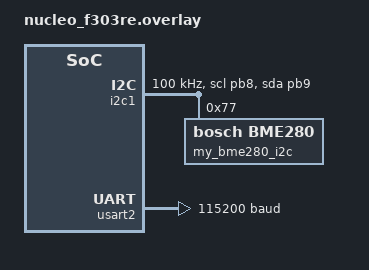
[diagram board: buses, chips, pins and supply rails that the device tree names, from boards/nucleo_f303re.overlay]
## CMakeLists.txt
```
# SPDX-License-Identifier: Apache-2.0

cmake_minimum_required(VERSION 3.20.0)
find_package(Zephyr REQUIRED HINTS $ENV{ZEPHYR_BASE})
project(seclog)

target_sources(app PRIVATE src/main.c)
```

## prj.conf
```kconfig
# General
CONFIG_LOG=y
CONFIG_PRINTK=y

# Enable the I2C, PINCTRL and the sensor drivers
CONFIG_I2C=y  
CONFIG_PINCTRL=y 
CONFIG_SENSOR=y
CONFIG_BME280=y

# Enable the STM32 console and USART dependencies
CONFIG_SERIAL=y
CONFIG_UART_CONSOLE=y
CONFIG_LOG=y
CONFIG_PRINTK=y

# Flash storage and persistence with NVS
CONFIG_FLASH_MAP=y
CONFIG_FLASH=y
CONFIG_FLASH_PAGE_LAYOUT=y
CONFIG_NVS=y

# Enable RNG drivers
CONFIG_MAIN_STACK_SIZE=4096
CONFIG_ENTROPY_GENERATOR=y
CONFIG_TEST_RANDOM_GENERATOR=y
CONFIG_ENTROPY_STM32_RNG=y


CONFIG_MBEDTLS=y
CONFIG_MBEDTLS_BUILTIN=y
CONFIG_MBEDTLS_MD=y
CONFIG_MBEDTLS_SHA256=y
```

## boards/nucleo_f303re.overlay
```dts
/ {
    /* The chosen node is used to specify the flash*/
    chosen {
		zephyr,flash = &flash0;
	};

    aliases {
        my-temp = &my_bme280_i2c;   // Alias for BME280 temperature sensor
    };
};

// The partitions are split as 6KB for both NVS which stores the sequence number and the storage which stroes the telemetry log
&flash0 {
    partitions {
        compatible = "fixed-partitions";
        #address-cells = <1>;
        #size-cells = <1>;

        nvs_partition: partition@7d000 {
            label = "nvs";
            reg = <0x7d000 0x1800>;
            status = "okay";
        };

        storage_partition: partition@7e800 {
            label = "storage";
            reg = <0x7e800 0x1800>;
            status = "okay";
        };
    };
};


// The BME280 sensor is defined as a child of the I2C1 bus with its compatible and I2C address
&i2c1 {
    status = "okay";
    pinctrl-0 = <&i2c1_scl_pb8 &i2c1_sda_pb9>;
    pinctrl-names = "default";
    clock-frequency = <I2C_BITRATE_STANDARD>;

    /* The sensor is a child of the bus */
    my_bme280_i2c: bme280@77 {
        compatible = "bosch,bme280";
        reg = <0x77>;
        status = "okay";
    };
};

// USART2 is enabled for serial communication with the host computer for debugging and telemetry output
&usart2 {
    status = "okay";
    current-speed = <115200>;
};
```

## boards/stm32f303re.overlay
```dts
/ {
    /* The chosen node is used to specify the flash and entropy devices for the system  
       which are therefore defined partitions in flash0 and the Random Number Generator RNG*/
    chosen {
		zephyr,flash = &flash0;
        zephyr,entropy = &rng;
	};

    aliases {
        my-temp = &my_bme280_i2c;   // Alias for BME280 temperature sensor
    };
};

// The partitions are split as 6KB for both NVS which stores the sequence number and the storage which stroes the telemetry log
&flash0 {
    partitions {
        compatible = "fixed-partitions";
        #address-cells = <1>;
        #size-cells = <1>;

        nvs_partition: partition@7d000 {
            label = "nvs";
            reg = <0x7d000 0x1800>;
        };

        storage_partition: partition@7e800 {
            label = "storage";
            reg = <0x7e800 0x1800>;
        };
    };
};

// The RNG is enabled to generate random numbers for the sequence number of the telemetry log
&rng {
    status = "okay";
};

// The BME280 sensor is defined as a child of the I2C1 bus with its compatible and I2C address
&i2c1 {
    status = "okay";
    pinctrl-0 = <&i2c1_scl_pb8 &i2c1_sda_pb9>;
    pinctrl-names = "default";
    clock-frequency = <I2C_BITRATE_STANDARD>;

    /* The sensor is a child of the bus */
    my_bme280_i2c: bme280@77 {
        compatible = "bosch,bme280";
        reg = <0x77>;
    };
};

// USART2 is enabled for serial communication with the host computer for debugging and telemetry output
&usart2 {
    status = "okay";
    current-speed = <115200>;
};
```

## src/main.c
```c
#include <zephyr/kernel.h>
// Header for use of I2C bus
#include <zephyr/drivers/i2c.h>
#include <zephyr/sys/printk.h>

// Headers for the use of partitioned flash map
#include <zephyr/drivers/flash.h>
#include <zephyr/storage/flash_map.h>
#include <zephyr/fs/nvs.h>
#include <zephyr/device.h> // Device configurations
#include <zephyr/drivers/sensor.h> // BME280 implements this API

// To generate anti replay tokens
#include <zephyr/random/random.h>

// Include the APIs of mbedtls
#include <mbedtls/md.h>

// Retrieve the defined devices from the devicetree //

static const struct device *const bme280 = DEVICE_DT_GET(DT_ALIAS(my_temp)); // Retrieve the Sensor device

// Define the nvs file system structure
static struct nvs_fs fs;

// Set the storage partition as a device due to its use of raw_flash
#define STORAGE_PARTITION FIXED_PARTITION_DEVICE(storage_partition)
static const struct device *const storage_dev = STORAGE_PARTITION;

// Define the IDS used for the NVS write later on //

#define SEQ_NUM_ID 1    // Let the ID for the sequence number be 1


#define HMAC_ID 2   // Let the ID for the HMAC be 2


// Local variable to hold the number
static uint32_t current_seq = 0;

// Acts like bookmark
static uint32_t write_offset = 0;

// HMAC key
static uint8_t hmac_key[16];


// Define the struct to hold the logging data
struct __attribute__((packed)) log_entry {
    uint32_t seq_num;        // From NVS
    int32_t  temp_mantissa;  // temp.val1
    int32_t  temp_fraction;  // temp.val2
    uint8_t  rng_token[4];   // From Entropy
    uint8_t  mac[32];        // The HA-256 HMAC is 32 bytes
};

// Function to compute the HMAC security key
static int compute_hmac(struct log_entry *entry, uint8_t *key)
{
    const mbedtls_md_info_t *md_info;

    md_info = mbedtls_md_info_from_type(MBEDTLS_MD_SHA256);
    if (md_info == NULL) {
        return -1;
    }

    return mbedtls_md_hmac(
        md_info,
        key, 16,
        (const unsigned char *)entry,
        sizeof(struct log_entry) - sizeof(entry->mac), // ❗ exclude MAC
        entry->mac
    );
}


// Function to verify the HMAC integrity
void verify_log(uint32_t offset)
{
    struct log_entry read_log;
    uint8_t stored_mac[32];

    flash_read(storage_dev, offset, &read_log, sizeof(read_log));

    memcpy(stored_mac, read_log.mac, 32);

    memset(read_log.mac, 0, 32);

    compute_hmac(&read_log, hmac_key);

    if (memcmp(stored_mac, read_log.mac, 32) == 0) {
        printk("Log valid\n");
    } else {
        printk("Log tampered\n");
    }
}

int main(void){

    // Declare the varaibles required for the bme280 sensor
    int ret;
    struct sensor_value temp;

    // Declare the variables required for the NVS setup
    int rc = 0;
    // To obtain the page size
    struct flash_pages_info info;

    // Declare the RNG tokens 32 bit
    uint8_t token[4];

    // Struct to enter the data into the log
    struct log_entry my_log;

    /* CHECK IF DEVICES ARE READY */

    if(!device_is_ready(bme280)){
            printk("Device %s is not ready.\n", bme280->name);
            return 0;
        }


    // NVS setup //

    // Set up the NVS as a file manager
    fs.flash_device = FIXED_PARTITION_DEVICE(nvs_partition);
    if (!device_is_ready(fs.flash_device)) {
        printk("Flash device %s is not ready\n", fs.flash_device->name);
        return 0;
    }
    fs.offset = FIXED_PARTITION_OFFSET(nvs_partition);

    // Obtain flash page info to get the sector size
    rc = flash_get_page_info_by_offs(fs.flash_device, fs.offset, &info);
    if (rc) {
        printk("Unable to get page info, rc=%d\n", rc);
        return 0;
    }
    fs.sector_size = info.size;
    // Set sector count based on total partition size / total page size
    fs.sector_count = 3U;

    // Mount to booth the file manage for those partitions
    rc = nvs_mount(&fs);
        if (rc) {
            printk("Flash Init failed, rc=%d\n", rc);
            return 0;
        }

    printk("NVS mounted successfully\n");
    
    
    // Read the sequence number from the NVS
    rc = nvs_read(&fs, SEQ_NUM_ID, &current_seq, sizeof(current_seq));

    if (rc < 0) {
        printk("Error reading sequence number\n");
    } else if (rc == 0) {
        printk("No stored sequence number found\n");
        current_seq = 0;
    } else {
        printk("Sequence number fetched %d\n", current_seq);
    }

    // Read the HMAC key from the NVS
    rc = nvs_read(&fs, HMAC_ID, hmac_key, sizeof(hmac_key));

    // If HMAC not found geenrate one and write to the NVS with a different ID
    if (rc <= 0) {
        printk("No key found, generating new one...\n");
        sys_rand_get(hmac_key, sizeof(hmac_key));

        nvs_write(&fs, HMAC_ID, hmac_key, sizeof(hmac_key));
    } else {
        printk("HMAC key loaded from NVS\n");
    }

    while(1){

        // Obtain the sensor readings
        ret = sensor_sample_fetch(bme280);
        if(ret < 0){
            printk("Sample Fetch Error: %d\n", ret);
            continue;
        }

        ret = sensor_channel_get(bme280, SENSOR_CHAN_AMBIENT_TEMP, &temp);
        if(ret < 0){
            printk("Channel Get Error: %d\n", ret);
            continue;
        }
        
        // Get the anti-replay tokens for each sensor data logging
        sys_rand_get(token, sizeof(token));

        // Increment the counter
        current_seq++;

        // Link it to the struct
        my_log.seq_num = current_seq;

        // Save the new number back to NVS 
        nvs_write(&fs, SEQ_NUM_ID, &current_seq, sizeof(current_seq));

        // Load the ttemperature values to the data struct
        my_log.temp_mantissa = temp.val1;
        my_log.temp_fraction = temp.val2;

        memcpy(my_log.rng_token, token, 4);

        memset(my_log.mac, 0, sizeof(my_log.mac));

        // Compute the HMAC using the data struct and the hmac key
        if (compute_hmac(&my_log, hmac_key) != 0) {
            printk("HMAC computation failed\n");
            continue;
        }
        
        // Write the data log into the storage partition
        rc = flash_write(storage_dev, write_offset, &my_log, sizeof(my_log));

        if (rc == 0) {
            printk("Log #%d saved to storage at offset %d\n", current_seq, write_offset);

            // Verify the stored log
            verify_log(write_offset);
            write_offset += sizeof(my_log);

            if (write_offset + sizeof(my_log) > FIXED_PARTITION_SIZE(storage_partition)) {
                printk("Storage full! Restarting from offset 0...\n");
                rc = flash_erase(storage_dev, 0, FIXED_PARTITION_SIZE(storage_partition));

                if (rc != 0) {
                    printk("Flash erase failed: %d\n", rc);
                }
                write_offset = 0;
            }
        } else {
            printk("Error writing to storage: %d\n", rc);
            }


        printk("Temp: %d.%06d | Token: %02x%02x%02x%02x\n", 
                temp.val1, temp.val2, 
                token[0], token[1], token[2], token[3]);

        k_msleep(1000);
    }


}
```
